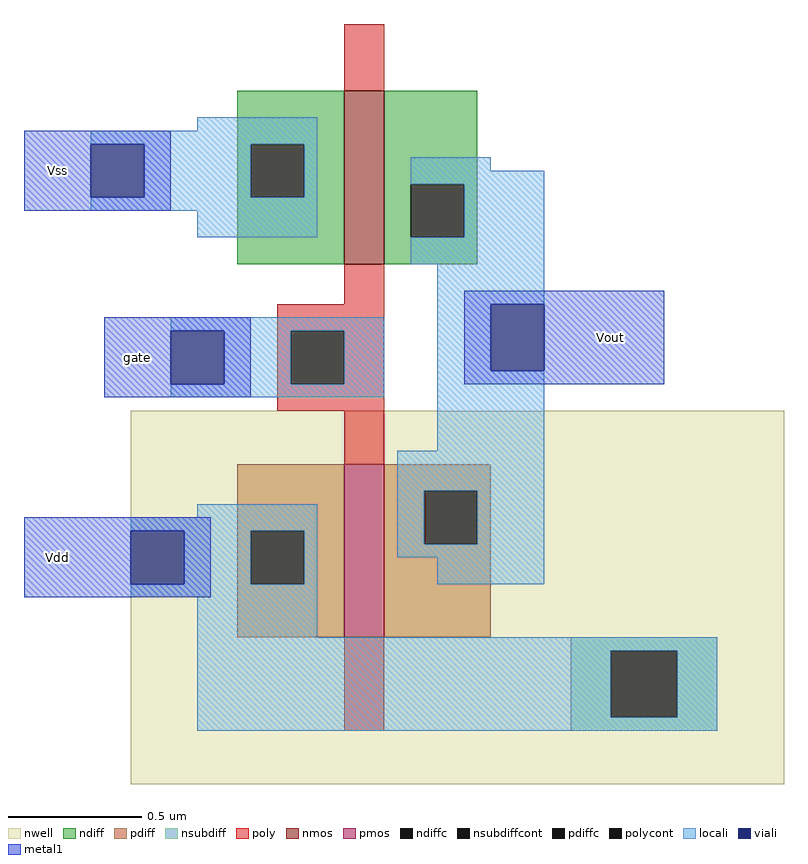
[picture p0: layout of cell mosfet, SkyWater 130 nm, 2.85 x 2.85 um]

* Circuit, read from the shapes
.subckt mosfet Vdd Vout Vss gate
XM1 Vout gate Vss VSUBS sky130_fd_pr__nfet_01v8 w=0.65 l=0.15
XM2 Vout gate Vdd Vdd sky130_fd_pr__pfet_01v8 w=0.65 l=0.15
.ends

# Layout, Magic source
magic
tech sky130A
<< nwell >>
rect -40 -195 205 -55
<< nmos >>
rect 40 0 55 65
<< pmos >>
rect 40 -140 55 -75
<< ndiff >>
rect 0 45 40 65
rect 0 25 5 45
rect 25 25 40 45
rect 0 0 40 25
rect 55 30 90 65
rect 55 10 65 30
rect 85 10 90 30
rect 55 0 90 10
<< pdiff >>
rect 0 -100 40 -75
rect 0 -120 5 -100
rect 25 -120 40 -100
rect 0 -140 40 -120
rect 55 -85 95 -75
rect 55 -105 70 -85
rect 90 -105 95 -85
rect 55 -140 95 -105
<< ndiffc >>
rect 5 25 25 45
rect 65 10 85 30
<< pdiffc >>
rect 5 -120 25 -100
rect 70 -105 90 -85
<< nsubdiff >>
rect 125 -145 180 -140
rect 125 -170 140 -145
rect 165 -170 180 -145
rect 125 -175 180 -170
<< nsubdiffcont >>
rect 140 -170 165 -145
<< poly >>
rect 40 65 55 90
rect 40 -15 55 0
rect 15 -25 55 -15
rect 15 -45 20 -25
rect 40 -45 55 -25
rect 15 -55 55 -45
rect 40 -75 55 -55
rect 40 -175 55 -140
<< polycont >>
rect 20 -45 40 -25
<< locali >>
rect -15 50 30 55
rect -55 45 30 50
rect -35 25 5 45
rect 25 25 30 45
rect -55 20 30 25
rect -15 10 30 20
rect 65 35 95 40
rect 65 30 115 35
rect 85 10 115 30
rect 65 0 115 10
rect 75 -15 115 0
rect -25 -25 55 -20
rect -5 -45 20 -25
rect 40 -45 55 -25
rect -25 -50 55 -45
rect 75 -40 95 -15
rect 75 -70 115 -40
rect 60 -85 115 -70
rect -15 -95 30 -90
rect -40 -100 30 -95
rect -20 -120 5 -100
rect 25 -120 30 -100
rect 60 -105 70 -85
rect 90 -105 115 -85
rect 60 -110 115 -105
rect 75 -120 115 -110
rect -40 -125 30 -120
rect -15 -140 30 -125
rect -15 -145 180 -140
rect -15 -170 140 -145
rect 165 -170 180 -145
rect -15 -175 180 -170
<< viali >>
rect -55 25 -35 45
rect -25 -45 -5 -25
rect 95 -40 115 -15
rect -40 -120 -20 -100
<< metal1 >>
rect -80 45 -25 50
rect -80 25 -55 45
rect -35 25 -25 45
rect -80 20 -25 25
rect 85 -15 160 -10
rect -50 -25 5 -20
rect -50 -45 -25 -25
rect -5 -45 5 -25
rect 85 -40 95 -15
rect 115 -40 160 -15
rect 85 -45 160 -40
rect -50 -50 5 -45
rect -80 -100 -10 -95
rect -80 -120 -40 -100
rect -20 -120 -10 -100
rect -80 -125 -10 -120
<< labels >>
rlabel metal1 120 -45 160 -10 1 Vout
rlabel metal1 -80 20 -55 50 1 Vss
rlabel metal1 -80 -125 -55 -95 1 Vdd
rlabel metal1 -50 -50 -25 -20 1 gate
<< end >>
